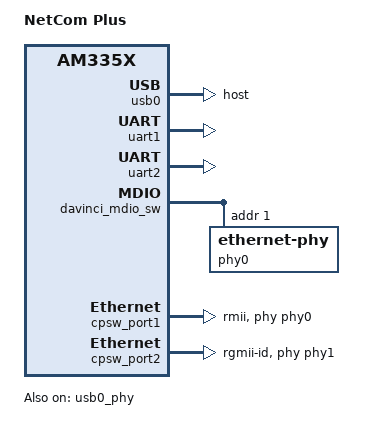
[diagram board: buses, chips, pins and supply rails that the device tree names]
// SPDX-License-Identifier: GPL-2.0-only
/*
 * Copyright (C) 2012 Texas Instruments Incorporated - https://www.ti.com/
 */

/*
 * VScom OnRISC
 * http://www.vscom.de
 */

/dts-v1/;

#include "am335x-baltos.dtsi"
#include "am335x-baltos-leds.dtsi"

/ {
	model = "NetCom Plus";
};

&am33xx_pinmux {
	uart1_pins: pinmux_uart1_pins {
		pinctrl-single,pins = <
			AM33XX_PADCONF(AM335X_PIN_UART1_RXD, PIN_INPUT, MUX_MODE0)			/* RX */
			AM33XX_PADCONF(AM335X_PIN_UART1_TXD, PIN_INPUT, MUX_MODE0)			/* TX */
			AM33XX_PADCONF(AM335X_PIN_UART1_CTSN, PIN_INPUT_PULLDOWN, MUX_MODE0)		/* CTS */
			AM33XX_PADCONF(AM335X_PIN_UART1_RTSN, PIN_OUTPUT_PULLDOWN, MUX_MODE0)		/* RTS */
			AM33XX_PADCONF(AM335X_PIN_LCD_VSYNC, PIN_OUTPUT_PULLDOWN, MUX_MODE7)		/* DTR */
			AM33XX_PADCONF(AM335X_PIN_LCD_HSYNC, PIN_INPUT_PULLDOWN, MUX_MODE7)		/* DSR */
			AM33XX_PADCONF(AM335X_PIN_LCD_PCLK, PIN_INPUT_PULLDOWN, MUX_MODE7)		/* DCD */
			AM33XX_PADCONF(AM335X_PIN_LCD_AC_BIAS_EN, PIN_INPUT_PULLDOWN, MUX_MODE7)	/* RI */
		>;
	};

	uart2_pins: pinmux_uart2_pins {
		pinctrl-single,pins = <
			AM33XX_PADCONF(AM335X_PIN_SPI0_SCLK, PIN_INPUT, MUX_MODE1)		/* RX */
			AM33XX_PADCONF(AM335X_PIN_SPI0_D0, PIN_OUTPUT, MUX_MODE1)      		/* TX */
			AM33XX_PADCONF(AM335X_PIN_I2C0_SDA, PIN_INPUT_PULLDOWN, MUX_MODE2)	/* CTS */
			AM33XX_PADCONF(AM335X_PIN_I2C0_SCL, PIN_OUTPUT_PULLDOWN, MUX_MODE2)	/* RTS */
			AM33XX_PADCONF(AM335X_PIN_GPMC_AD12, PIN_OUTPUT_PULLDOWN, MUX_MODE7)	/* DTR */
			AM33XX_PADCONF(AM335X_PIN_GPMC_AD13, PIN_INPUT_PULLDOWN, MUX_MODE7)	/* DSR */
			AM33XX_PADCONF(AM335X_PIN_GPMC_AD14, PIN_INPUT_PULLDOWN, MUX_MODE7)	/* DCD */
			AM33XX_PADCONF(AM335X_PIN_GPMC_AD15, PIN_INPUT_PULLDOWN, MUX_MODE7)	/* RI */
		>;
	};
};

&usb0_phy {
	status = "okay";
};

&usb0 {
	status = "okay";
	dr_mode = "host";
};

&uart1 {
	pinctrl-names = "default";
	pinctrl-0 = <&uart1_pins>;
	dtr-gpios = <&gpio2 22 GPIO_ACTIVE_LOW>;
	dsr-gpios = <&gpio2 23 GPIO_ACTIVE_LOW>;
	dcd-gpios = <&gpio2 24 GPIO_ACTIVE_LOW>;
	rng-gpios = <&gpio2 25 GPIO_ACTIVE_LOW>;

	status = "okay";
};

&uart2 {
	pinctrl-names = "default";
	pinctrl-0 = <&uart2_pins>;
	dtr-gpios = <&gpio1 12 GPIO_ACTIVE_LOW>;
	dsr-gpios = <&gpio1 13 GPIO_ACTIVE_LOW>;
	dcd-gpios = <&gpio1 14 GPIO_ACTIVE_LOW>;
	rng-gpios = <&gpio1 15 GPIO_ACTIVE_LOW>;

	status = "okay";
};

&davinci_mdio_sw {
	phy0: ethernet-phy@0 {
		reg = <1>;
	};
};

&cpsw_port1 {
	phy-mode = "rmii";
	ti,dual-emac-pvid = <1>;
	phy-handle = <&phy0>;
};

&cpsw_port2 {
	phy-mode = "rgmii-id";
	ti,dual-emac-pvid = <2>;
	phy-handle = <&phy1>;
};

&gpio0 {
	gpio-line-names =
		"MDIO",
		"MDC",
		"UART2_RX",
		"UART2_TX",
		"I2C1_SDA",
		"I2C1_SCL",
		"NC",
		"NC",
		"NC",
		"NC",
		"NC",
		"NC",
		"UART1_CTSN",
		"UART1_RTSN",
		"UART1_RX",
		"UART1_TX",
		"onrisc:blue:wlan",
		"onrisc:green:app",
		"USB0_DRVVBUS",
		"ETH2_INT",
		"NC",
		"NC",
		"MMC1_DAT0",
		"MMC1_DAT1",
		"NC",
		"NC",
		"MMC1_DAT2",
		"MMC1_DAT3",
		"NC",
		"NC",
		"GPMC_WAIT0",
		"GPMC_WP_N";
};

&gpio1 {
	gpio-line-names =
		"GPMC_AD0",
		"GPMC_AD1",
		"GPMC_AD2",
		"GPMC_AD3",
		"GPMC_AD4",
		"GPMC_AD5",
		"GPMC_AD6",
		"GPMC_AD7",
		"NC",
		"NC",
		"CONSOLE_RX",
		"CONSOLE_TX",
		"UART2_DTR",
		"UART2_DSR",
		"UART2_DCD",
		"UART2_RI",
		"RGMII2_TCTL",
		"RGMII2_RCTL",
		"RGMII2_TD3",
		"RGMII2_TD2",
		"RGMII2_TD1",
		"RGMII2_TD0",
		"RGMII2_TCLK",
		"RGMII2_RCLK",
		"RGMII2_RD3",
		"RGMII2_RD2",
		"RGMII2_RD1",
		"RGMII2_RD0",
		"PMIC_INT1",
		"GPMC_CSN0_Flash",
		"MMC1_CLK",
		"MMC1_CMD";
};

&gpio2 {
	gpio-line-names =
		"GPMC_CSN3_BUS",
		"GPMC_CLK",
		"GPMC_ADVN_ALE",
		"GPMC_OEN_RE_N",
		"GPMC_WE_N",
		"GPMC_BEN0_CLE",
		"NC",
		"NC",
		"NC",
		"NC",
		"NC",
		"NC",
		"NC",
		"NC",
		"NC",
		"NC",
		"NC",
		"NC",
		"SW2_0",
		"SW2_1",
		"NC",
		"NC",
		"UART1_DTR",
		"UART1_DSR",
		"UART1_DCD",
		"UART1_RI",
		"MMC0_DAT3",
		"MMC0_DAT2",
		"MMC0_DAT1",
		"MMC0_DAT0",
		"MMC0_CLK",
		"MMC0_CMD";
};

&gpio3 {
	gpio-line-names =
		"onrisc:red:power",
		"NC",
		"NC",
		"NC",
		"NC",
		"UART2_CTSN",
		"UART2_RTSN",
		"WLAN_IRQ",
		"WLAN_EN",
		"SW2_2",
		"SW2_3",
		"NC",
		"NC",
		"NC",
		"ModeA0",
		"ModeA1",
		"ModeA2",
		"ModeA3",
		"NC",
		"NC",
		"NC",
		"NC",
		"NC",
		"NC",
		"NC",
		"NC",
		"NC",
		"NC",
		"NC",
		"NC",
		"NC",
		"NC";
};
